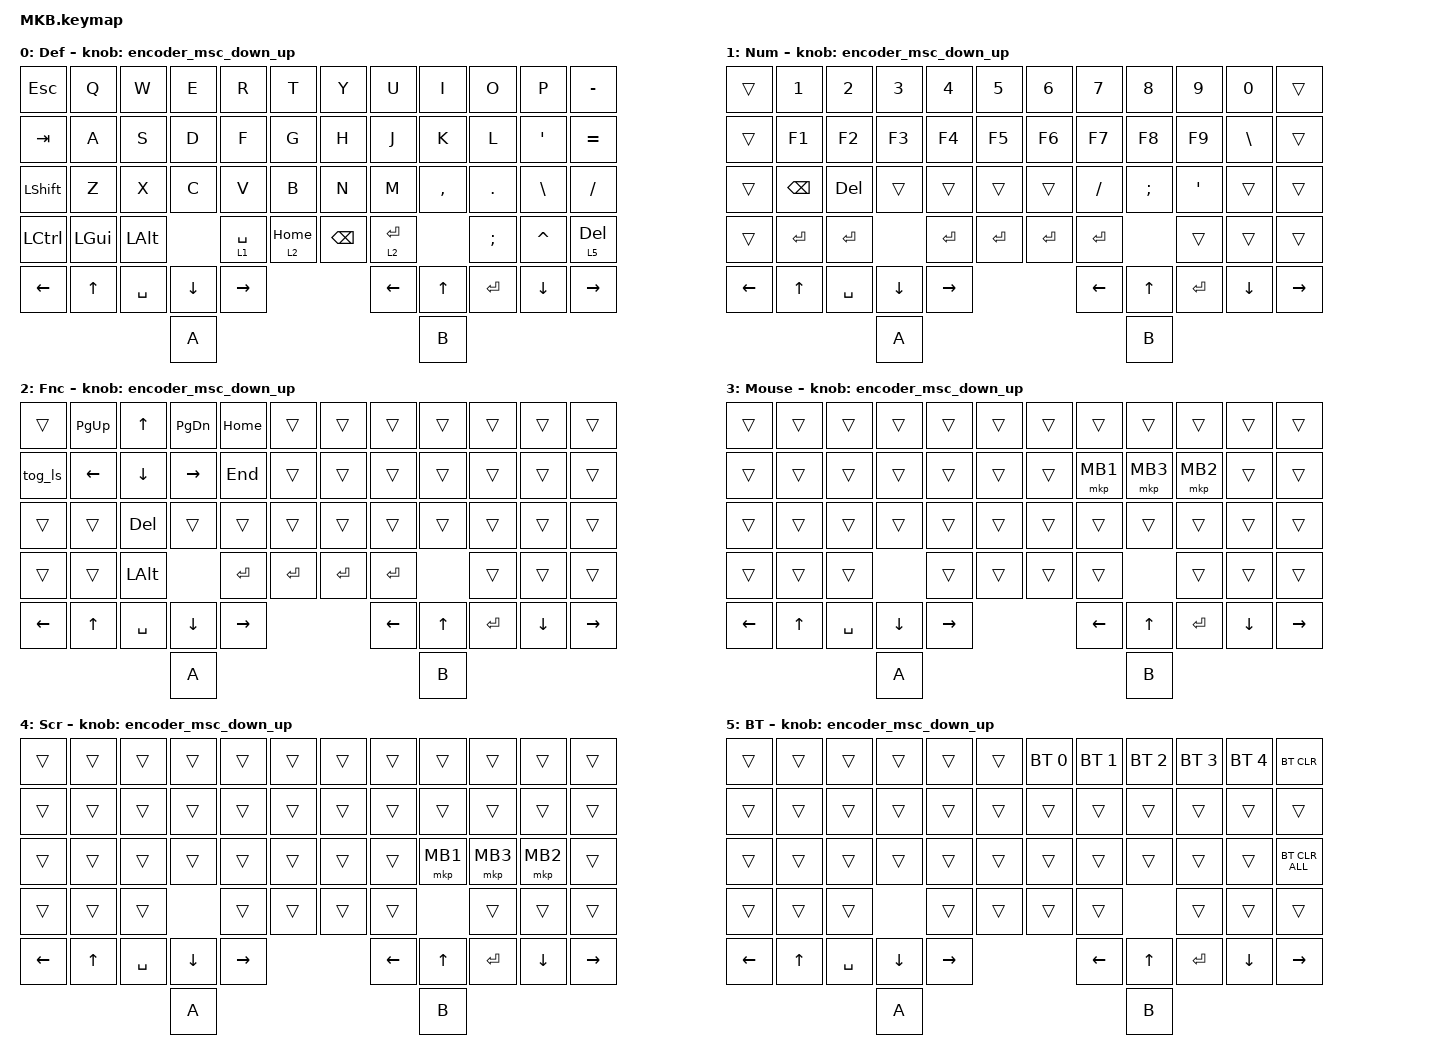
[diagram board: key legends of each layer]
// #include <layout_shift.dtsi>


#include <layout_shift_kp_override.dtsi>
#include <behaviors.dtsi>
#include <dt-bindings/zmk/bt.h>
#include <dt-bindings/zmk/keys.h>
#include <dt-bindings/zmk/pointing.h>

#define ZMK_POINTING_DEFAULT_SCRL_VAL 80
#define DEF 0
#define FUNC 1
#define NUM 2
#define MOUSE 3
#define SCROLL 4
#define BT 5

&mt {
    flavor = "balanced";
    tapping-term-ms = <280>;
    quick-tap-ms = <175>;
    require-prior-idle-ms = <150>;
};

/ {

    behaviors {
        encoder_msc_down_up: encoder_msc_down_up {
            compatible = "zmk,behavior-sensor-rotate";
            label = "ENCODER_MSC_DOWN_UP";
            #sensor-binding-cells = <0>;
            bindings = <&msc SCRL_DOWN>, <&msc SCRL_UP>;

            tap-ms = <20>;
        };
    };

    keymap {
        compatible = "zmk,keymap";

        default_layer {
            label = "Def";
            bindings = <
&kp ESCAPE        &kp Q     &kp W      &kp E     &kp R        &kp T           &kp Y          &kp U           &kp I         &kp O       &kp P           &kp MINUS
&kp TAB           &kp A     &kp S      &kp D     &kp F        &kp G           &kp H          &kp J           &kp K         &kp L       &kp SQT         &kp EQUAL
&kp LSHFT         &kp Z     &kp X      &kp C     &kp V        &kp B           &kp N          &kp M           &kp COMMA     &kp PERIOD  &kp BACKSLASH   &kp FSLH
&kp LEFT_CONTROL  &kp LGUI  &kp LALT             &lt 1 SPACE  &lt 2 HOME      &kp BACKSPACE  &lt 2 ENTER                   &kp SEMI    &kp CARET       &lt 5 DELETE
&kp LEFT          &kp UP    &kp SPACE  &kp DOWN  &kp RIGHT                                   &kp LEFT_ARROW  &kp UP_ARROW  &kp ENTER   &kp DOWN_ARROW  &kp RIGHT_ARROW
                                       &kp A                                                                 &kp B
            >;
                    sensor-bindings = <&encoder_msc_down_up>;
                    sensor-bindings = <&encoder_msc_down_up>;
        };

        num_layer {
            label = "Num";
            bindings = <
&trans    &kp N1         &kp N2     &kp N3    &kp N4     &kp N5         &kp N6     &kp N7          &kp N8        &kp N9     &kp N0          &trans
&trans    &kp F1         &kp F2     &kp F3    &kp F4     &kp F5         &kp F6     &kp F7          &kp F8        &kp F9     &kp BSLH        &trans
&trans    &kp BACKSPACE  &kp DEL    &trans    &trans     &trans         &trans     &kp FSLH        &kp SEMI      &kp SQT    &trans          &trans
&trans    &kp ENTER      &kp ENTER            &kp ENTER  &kp ENTER      &kp ENTER  &kp ENTER                     &trans     &trans          &trans
&kp LEFT  &kp UP         &kp SPACE  &kp DOWN  &kp RIGHT                            &kp LEFT_ARROW  &kp UP_ARROW  &kp ENTER  &kp DOWN_ARROW  &kp RIGHT_ARROW
                                    &kp A                                                          &kp B
            >;
                    sensor-bindings = <&encoder_msc_down_up>;
                    sensor-bindings = <&encoder_msc_down_up>;
        };

        function_layer {
            label = "Fnc";
            bindings = <
&trans    &kp PG_UP  &kp UP     &kp PG_DN  &kp HOME   &trans         &trans     &trans          &trans        &trans     &trans          &trans
&tog_ls   &kp LEFT   &kp DOWN   &kp RIGHT  &kp END    &trans         &trans     &trans          &trans        &trans     &trans          &trans
&trans    &trans     &kp DEL    &trans     &trans     &trans         &trans     &trans          &trans        &trans     &trans          &trans
&trans    &trans     &kp LALT              &kp ENTER  &kp ENTER      &kp ENTER  &kp ENTER                     &trans     &trans          &trans
&kp LEFT  &kp UP     &kp SPACE  &kp DOWN   &kp RIGHT                            &kp LEFT_ARROW  &kp UP_ARROW  &kp ENTER  &kp DOWN_ARROW  &kp RIGHT_ARROW
                                &kp A                                                           &kp B
            >;
                    sensor-bindings = <&encoder_msc_down_up>;
                    sensor-bindings = <&encoder_msc_down_up>;
        };

        mouse_layer {
            label = "Mouse";
            bindings = <
&trans    &trans  &trans     &trans    &trans     &trans      &trans  &trans          &trans        &trans     &trans          &trans
&trans    &trans  &trans     &trans    &trans     &trans      &trans  &mkp MB1        &mkp MB3      &mkp MB2   &trans          &trans
&trans    &trans  &trans     &trans    &trans     &trans      &trans  &trans          &trans        &trans     &trans          &trans
&trans    &trans  &trans               &trans     &trans      &trans  &trans                        &trans     &trans          &trans
&kp LEFT  &kp UP  &kp SPACE  &kp DOWN  &kp RIGHT                      &kp LEFT_ARROW  &kp UP_ARROW  &kp ENTER  &kp DOWN_ARROW  &kp RIGHT_ARROW
                             &kp A                                                    &kp B
            >;
                    sensor-bindings = <&encoder_msc_down_up>;
                    sensor-bindings = <&encoder_msc_down_up>;
        };

        scroll_layer {
            label = "Scr";
            bindings = <
&trans    &trans  &trans     &trans    &trans     &trans      &trans  &trans          &trans        &trans     &trans          &trans
&trans    &trans  &trans     &trans    &trans     &trans      &trans  &trans          &trans        &trans     &trans          &trans
&trans    &trans  &trans     &trans    &trans     &trans      &trans  &trans          &mkp MB1      &mkp MB3   &mkp MB2        &trans
&trans    &trans  &trans               &trans     &trans      &trans  &trans                        &trans     &trans          &trans
&kp LEFT  &kp UP  &kp SPACE  &kp DOWN  &kp RIGHT                      &kp LEFT_ARROW  &kp UP_ARROW  &kp ENTER  &kp DOWN_ARROW  &kp RIGHT_ARROW
                             &kp A                                                    &kp B
            >;
                    sensor-bindings = <&encoder_msc_down_up>;
                    sensor-bindings = <&encoder_msc_down_up>;
        };

        bt_layer {
            label = "BT";
            bindings = <
&trans    &trans  &trans     &trans    &trans     &trans      &bt BT_SEL 0  &bt BT_SEL 1    &bt BT_SEL 2  &bt BT_SEL 3  &bt BT_SEL 4    &bt BT_CLR
&trans    &trans  &trans     &trans    &trans     &trans      &trans        &trans          &trans        &trans        &trans          &trans
&trans    &trans  &trans     &trans    &trans     &trans      &trans        &trans          &trans        &trans        &trans          &bt BT_CLR_ALL
&trans    &trans  &trans               &trans     &trans      &trans        &trans                        &trans        &trans          &trans
&kp LEFT  &kp UP  &kp SPACE  &kp DOWN  &kp RIGHT                            &kp LEFT_ARROW  &kp UP_ARROW  &kp ENTER     &kp DOWN_ARROW  &kp RIGHT_ARROW
                             &kp A                                                          &kp B
            >;
                    sensor-bindings = <&encoder_msc_down_up>;
                    sensor-bindings = <&encoder_msc_down_up>;
        };
    };
};





